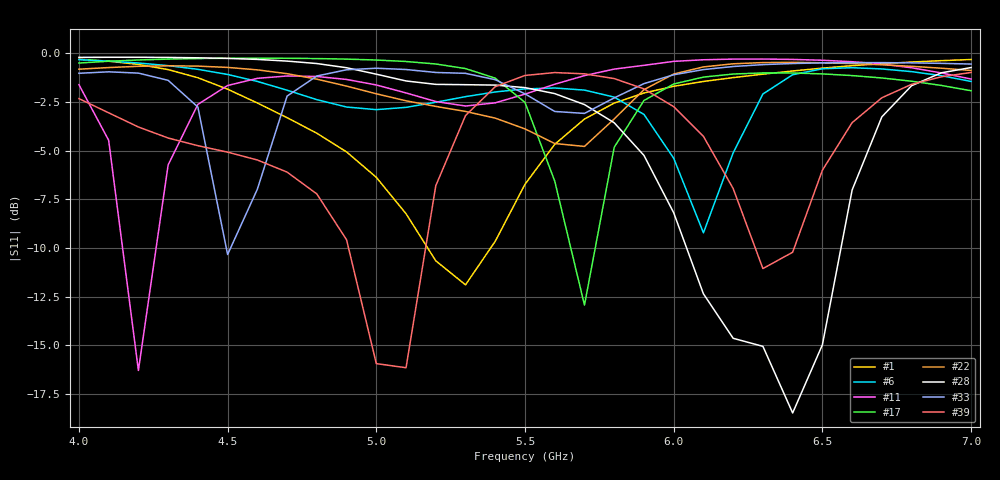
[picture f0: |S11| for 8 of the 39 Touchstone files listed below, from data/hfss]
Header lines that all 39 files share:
! Touchstone file exported from HFSS 2024.2.0
!  File:  C:/Users/wsak9/Desktop/Sim Fast/Widenad Patch/WP_AI_V1_sweep.aedt
!  Design:  A1_model
!  Project:  WP_AI_V1_sweep
!  Setup:  Setup1
!  Solution:  Sweep
! Variables:
!Data is not renormalized
# GHz S MA
! Terminal data exported
! Port[1] = 1
Fixed: Curve_len1 = 1, H_sub = 0.79mm
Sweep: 4 GHz to 7 GHz
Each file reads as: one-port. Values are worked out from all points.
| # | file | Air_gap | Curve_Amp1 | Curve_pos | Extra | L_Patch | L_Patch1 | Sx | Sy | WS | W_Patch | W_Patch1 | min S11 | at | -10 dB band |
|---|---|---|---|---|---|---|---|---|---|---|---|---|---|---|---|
| 1 | run_0000.s1p | 4.01mm | 0.57 | 11.125mm | 7.7mm | 18.25mm | 19.12mm | 1.85mm | 3.19mm | 0.4mm | 14.95mm | 11.42mm | -11.9 dB | 5.3 GHz | 211.6 MHz wide |
| 2 | run_0001.s1p | 2.4mm | 0.58 | 13.055mm | 2.9mm | 22.11mm | 11.65mm | 2.56mm | 4.01mm | 0.73mm | 12.98mm | 8.75mm | -3.2 dB | 4.3 GHz | - |
| 3 | run_0002.s1p | 2.91mm | 2.26 | 9.5mm | 5.55mm | 15mm | 20.81mm | 2.75mm | 0.45mm | 0.71mm | 22.91mm | 15.26mm | -21.2 dB | 6.5 GHz | 135.8 MHz wide |
| 4 | run_0003.s1p | 3.83mm | 2.51 | 11.385mm | 3.42mm | 18.77mm | 14.31mm | 1.08mm | 2.22mm | 0.53mm | 14.39mm | 10.89mm | -19.9 dB | 4.8 GHz | 378.3 MHz wide |
| 5 | run_0004.s1p | 3.56mm | 0.95 | 10.97mm | 3.98mm | 17.94mm | 12.06mm | 1.09mm | 4.11mm | 1.03mm | 13.71mm | 8.08mm | -6.8 dB | 5.5 GHz | - |
| 6 | run_0005.s1p | 3.73mm | 2.64 | 10.08mm | 3.49mm | 16.16mm | 16.9mm | 4.73mm | 3.6mm | 0.97mm | 10.95mm | 13.41mm | -9.2 dB | 6.1 GHz | - |
| 7 | run_0006.s1p | 1.62mm | 2.39 | 9.55mm | 1.72mm | 15.1mm | 15.26mm | 2.5mm | 4.41mm | 0.66mm | 17.05mm | 13.54mm | -10.5 dB | 5.7 GHz | 156.5 MHz wide |
| 8 | run_0007.s1p | 1.68mm | 1.82 | 10.745mm | 4.92mm | 17.49mm | 13.15mm | 1.15mm | 1.49mm | 1.32mm | 21.48mm | 8.23mm | -17.1 dB | 5.1 GHz | 161.8 MHz wide |
| 9 | run_0008.s1p | 2.32mm | 3.43 | 12.195mm | 5.32mm | 20.39mm | 19.59mm | 2.87mm | 3.51mm | 0.74mm | 21.67mm | 14.27mm | -14.8 dB | 6 GHz | 284.4 MHz wide |
| 10 | run_0009.s1p | 3.18mm | 0.86 | 12.435mm | 1.98mm | 20.87mm | 18.55mm | 3.93mm | 4.8mm | 0.83mm | 13.2mm | 16.57mm | -7.2 dB | 4.6 GHz | - |
| 11 | run_0010.s1p | 3.03mm | 2.58 | 13.33mm | 7.53mm | 22.66mm | 17.75mm | 3.6mm | 4.77mm | 0.56mm | 11mm | 10.22mm | -16.3 dB | 4.2 GHz | 112.7 MHz wide |
| 12 | run_0011.s1p | 4.68mm | 2.89 | 12.8mm | 2.96mm | 21.6mm | 17.75mm | 2.32mm | 1.04mm | 0.41mm | 10.42mm | 14.79mm | -17.0 dB | 4.4 GHz | 253.5 MHz wide |
| 13 | run_0012.s1p | 4.88mm | 3.65 | 10.4mm | 7.4mm | 16.8mm | 22.01mm | 0.37mm | 0.97mm | 0.43mm | 18.56mm | 14.61mm | -7.7 dB | 6 GHz | - |
| 14 | run_0013.s1p | 4.69mm | 3.21 | 11.615mm | 6.52mm | 19.23mm | 22.76mm | 0.22mm | 1.83mm | 0.71mm | 14.62mm | 16.24mm | -10.3 dB | 5.2 GHz | 9.061 MHz wide |
| 15 | run_0014.s1p | 1.96mm | 2.23 | 11.29mm | 4.8mm | 18.58mm | 17.5mm | 4.29mm | 4.91mm | 0.96mm | 12.96mm | 12.7mm | -20.9 dB | 4.9 GHz | 244.9 MHz wide |
| 16 | run_0015.s1p | 3.24mm | 2.21 | 13.35mm | 4.11mm | 22.7mm | 17.3mm | 4.2mm | 0.54mm | 1.05mm | 15.49mm | 13.19mm | -12.8 dB | 4.3 GHz | 195.4 MHz wide |
| 17 | run_0016.s1p | 3.97mm | 1.59 | 10.505mm | 2.01mm | 17.01mm | 10.55mm | 4.71mm | 1.91mm | 0.25mm | 10.38mm | 8.54mm | -12.9 dB | 5.7 GHz | 82.15 MHz wide |
| 18 | run_0017.s1p | 4mm | 2.16 | 13.28mm | 5.57mm | 22.56mm | 18.34mm | 2.94mm | 4.42mm | 0.35mm | 21.13mm | 12.77mm | -3.9 dB | 4.1 GHz | - |
| 19 | run_0018.s1p | 2.6mm | 2.69 | 9.935mm | 3.6mm | 15.87mm | 19.07mm | 2.05mm | 4.62mm | 0.85mm | 20.14mm | 15.47mm | -13.4 dB | 6.1 GHz | 100.5 MHz wide |
| 20 | run_0019.s1p | 3.66mm | 2.53 | 12.855mm | 2.68mm | 21.71mm | 17.96mm | 3.8mm | 1.14mm | 1.28mm | 12.41mm | 15.28mm | -27.9 dB | 4.5 GHz | 422.6 MHz wide |
| 21 | run_0020.s1p | 4.33mm | 2.35 | 12.68mm | 7.27mm | 21.36mm | 22.08mm | 1.56mm | 2.83mm | 0.73mm | 14.89mm | 14.81mm | -16.6 dB | 4.7 GHz | 140 MHz wide |
| 22 | run_0021.s1p | 4.1mm | 1.46 | 10.98mm | 7.24mm | 17.96mm | 16.98mm | 0.84mm | 4.71mm | 0.25mm | 10.65mm | 9.74mm | -4.8 dB | 5.7 GHz | - |
| 23 | run_0022.s1p | 2.48mm | 2.25 | 9.965mm | 2.57mm | 15.93mm | 17.14mm | 4.75mm | 3.56mm | 0.59mm | 20.94mm | 14.57mm | -9.7 dB | 6.2 GHz | - |
| 24 | run_0023.s1p | 1.5mm | 0.74 | 9.745mm | 7.03mm | 15.49mm | 17.17mm | 1.55mm | 3.41mm | 1.05mm | 18.78mm | 10.14mm | -13.5 dB | 6.8 GHz | 205.2 MHz wide |
| 25 | run_0024.s1p | 4.56mm | 3.32 | 13.34mm | 7.46mm | 22.68mm | 18.67mm | 4.41mm | 0.47mm | 1.28mm | 20.01mm | 11.21mm | -18.8 dB | 4.6 GHz | 588.3 MHz wide |
| 26 | run_0025.s1p | 4.76mm | 1.8 | 9.81mm | 4.56mm | 15.62mm | 15.96mm | 2.04mm | 4.24mm | 1.46mm | 11.82mm | 11.4mm | -5.2 dB | 6.1 GHz | - |
| 27 | run_0026.s1p | 4.22mm | 1.27 | 10.63mm | 3.69mm | 17.26mm | 12.59mm | 3.69mm | 3.83mm | 0.78mm | 20.25mm | 8.9mm | -12.3 dB | 5.5 GHz | 170.7 MHz wide |
| 28 | run_0027.s1p | 2.04mm | 1.97 | 10.355mm | 4.18mm | 16.71mm | 15.36mm | 4.95mm | 0.81mm | 0.25mm | 19.4mm | 11.18mm | -18.5 dB | 6.4 GHz | 519 MHz wide |
| 29 | run_0028.s1p | 1.91mm | 2.27 | 10.25mm | 3.14mm | 16.5mm | 14.23mm | 3.08mm | 0.36mm | 0.66mm | 20.58mm | 11.09mm | -4.9 dB | 6.6 GHz | - |
| 30 | run_0029.s1p | 1.69mm | 2.8 | 9.995mm | 6.24mm | 15.99mm | 20.19mm | 4.04mm | 0.31mm | 0.32mm | 21.54mm | 13.95mm | -9.3 dB | 7 GHz | - |
| 31 | run_0030.s1p | 2.84mm | 2.01 | 11.275mm | 4.36mm | 18.55mm | 20.54mm | 2.9mm | 4.48mm | 1.41mm | 13.53mm | 16.18mm | -13.2 dB | 5.3 GHz | 182.4 MHz wide |
| 32 | run_0031.s1p | 1.63mm | 2.81 | 9.865mm | 3.97mm | 15.73mm | 17.36mm | 1.77mm | 4.25mm | 1.4mm | 14.03mm | 13.39mm | -14.0 dB | 6.2 GHz | 158.2 MHz wide |
| 33 | run_0032.s1p | 4.28mm | 3.64 | 12.71mm | 2.99mm | 21.42mm | 11.35mm | 3.19mm | 1.6mm | 0.83mm | 18.01mm | 8.36mm | -10.3 dB | 4.5 GHz | 14.36 MHz wide |
| 34 | run_0034.s1p | 2.75mm | 1.01 | 12.05mm | 5.25mm | 20.1mm | 18.08mm | 2.11mm | 1.6mm | 0.92mm | 21.35mm | 12.83mm | -14.4 dB | 4.4 GHz | 262.6 MHz wide |
| 35 | run_0035.s1p | 2.07mm | 2.71 | 11.255mm | 5.53mm | 18.51mm | 13.8mm | 1.59mm | 3.94mm | 1.36mm | 21.82mm | 8.27mm | -12.3 dB | 4.8 GHz | 183.4 MHz wide |
| 36 | run_0036.s1p | 2.04mm | 3.95 | 11.695mm | 6.43mm | 19.39mm | 15.22mm | 1.5mm | 0.67mm | 0.45mm | 21.55mm | 8.79mm | -5.2 dB | 5.2 GHz | - |
| 37 | run_0037.s1p | 4.87mm | 2.05 | 10.11mm | 1.54mm | 16.22mm | 18.47mm | 0.72mm | 3.23mm | 1.21mm | 16.31mm | 16.93mm | -4.7 dB | 6.4 GHz | - |
| 38 | run_0038.s1p | 2.05mm | 3.1 | 10.67mm | 7.26mm | 17.34mm | 23.05mm | 1.37mm | 4.92mm | 0.95mm | 13.16mm | 15.79mm | -9.3 dB | 4.4 GHz | - |
| 39 | run_0039.s1p | 4.81mm | 3.28 | 12.055mm | 7.17mm | 20.11mm | 18.95mm | 1.43mm | 4.99mm | 1.47mm | 11.29mm | 11.78mm | -16.1 dB | 5.1 GHz | 259.1 MHz wide |
